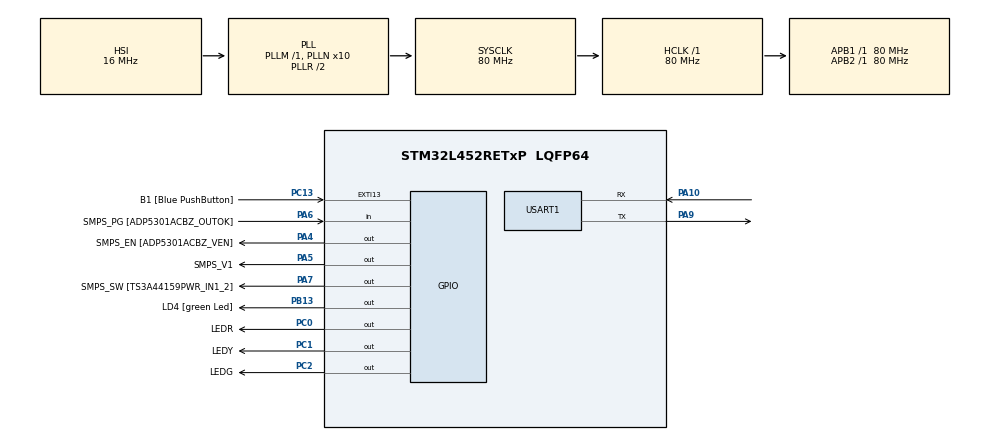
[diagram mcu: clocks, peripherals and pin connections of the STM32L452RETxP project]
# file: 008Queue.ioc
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Mcu.Family=STM32L4
PA2.GPIO_PuPd=GPIO_NOPULL
VP_SYS_VS_tim6.Mode=TIM6
RCC.CortexFreq_Value=80000000
NVIC.TIM6_DAC_IRQn=true\:0\:0\:false\:false\:true\:false\:true
PH0-OSC_IN\ (PH0).Signal=RCC_OSC_IN
PA3.GPIO_PuPd=GPIO_NOPULL
PA2.GPIO_Speed=GPIO_SPEED_FREQ_VERY_HIGH
PC0.GPIO_Label=LEDR
VP_RTC_VS_RTC_Activate.Mode=RTC_Enabled
PA6.GPIO_Label=SMPS_PG [ADP5301ACBZ_OUTOK]
PC13.GPIO_Label=B1 [Blue PushButton]
PB13.GPIO_Label=LD4 [green Led]
PA3.GPIO_Speed=GPIO_SPEED_FREQ_VERY_HIGH
PB13.Signal=GPIO_Output
RCC.SYSCLKSource=RCC_SYSCLKSOURCE_PLLCLK
ProjectManager.StackSize=0x400
PA14\ (JTCK/SWCLK).Signal=SYS_JTCK-SWCLK
RCC.HCLKFreq_Value=80000000
RCC.APB2TimFreq_Value=80000000
RCC.AHBFreq_Value=80000000
RCC.PREFETCH_ENABLE=1
NVIC.EXTI15_10_IRQn=true\:6\:0\:true\:false\:true\:true\:true
RCC.HSE_VALUE=8000000
PA13\ (JTMS/SWDIO).GPIO_Label=TMS
PA6.GPIO_PuPd=GPIO_PULLUP
PA5.GPIO_PuPd=GPIO_NOPULL
PC13.GPIO_PuPd=GPIO_NOPULL
Mcu.Package=LQFP64
PA6.Signal=GPIO_Input
NVIC.TimeBase=TIM6_DAC_IRQn
PA2.GPIO_Label=USART_TX
NVIC.TimeBaseIP=TIM6
PA10.Signal=USART1_RX
PA14\ (JTCK/SWCLK).GPIO_Label=TCK
RCC.APB1TimFreq_Value=80000000
NVIC.USART1_IRQn=true\:6\:0\:true\:false\:true\:true\:true
PA4.GPIO_Label=SMPS_EN [ADP5301ACBZ_VEN]
PC2.GPIO_Label=LEDG
RCC.HSI48_VALUE=48000000
PA3.Signal=USART2_RX
PA2.GPIO_Mode=GPIO_MODE_AF_PP
PB3\ (JTDO/TRACESWO).GPIO_Label=SWO
RCC.MSI_VALUE=4000000
RCC.PLLSourceVirtual=RCC_PLLSOURCE_HSI
PA10.Mode=Asynchronous
PC13.Signal=GPXTI13
PC2.Signal=GPIO_Output
PC15-OSC32_OUT\ (PC15).Signal=RCC_OSC32_OUT
PC0.Signal=GPIO_Output
PH1-OSC_OUT\ (PH1).Signal=RCC_OSC_OUT
USART1.VirtualMode-Asynchronous=VM_ASYNC
PA9.Mode=Asynchronous
PB3\ (JTDO/TRACESWO).Signal=SYS_JTDO-SWO
ProjectManager.TargetToolchain=STM32CubeIDE
PA3.GPIO_Mode=GPIO_MODE_AF_PP
PA9.Signal=USART1_TX
RCC.USBFreq_Value=64000000
RCC.LSE_VALUE=32768
PA5.Signal=GPIO_Output
board=NUCLEO-L452RE-P
RCC.VCOOutputFreq_Value=160000000
RCC.APB2Freq_Value=80000000
PA5.GPIO_ModeDefaultOutputPP=GPIO_MODE_OUTPUT_PP
RCC.ADCFreq_Value=64000000
PC1.GPIO_Label=LEDY
Mcu.Name=STM32L452RETxP
PA2.Signal=USART2_TX
PA4.Signal=GPIO_Output
RCC.SYSCLKFreq_VALUE=80000000
PA7.GPIO_Label=SMPS_SW [TS3A44159PWR_IN1_2]
PA5.GPIO_Label=SMPS_V1
PC13.GPIO_ModeDefaultEXTI=GPIO_MODE_IT_FALLING
PC14-OSC32_IN\ (PC14).Signal=RCC_OSC32_IN
RTC.HourFormat=RTC_HOURFORMAT_12
ProjectManager.HeapSize=0x200
RCC.HSI_VALUE=16000000
PA5.GPIO_Speed=GPIO_SPEED_FREQ_LOW
NVIC.PriorityGroup=NVIC_PRIORITYGROUP_4
PH0-OSC_IN\ (PH0).GPIO_Label=MCO
RCC.PLLN=10
RCC.APB1Freq_Value=80000000
PC1.Signal=GPIO_Output
PA13\ (JTMS/SWDIO).Signal=SYS_JTMS-SWDIO
PA3.GPIO_Label=USART_RX
PA7.Signal=GPIO_Output

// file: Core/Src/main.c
/* USER CODE BEGIN Header */
/**
  ******************************************************************************
  * @file           : main.c
  * @brief          : Main program body
  ******************************************************************************
  * @attention
  *
  * <h2><center>&copy; Copyright (c) 2022 STMicroelectronics.
  * All rights reserved.</center></h2>
  *
  * This software component is licensed by ST under BSD 3-Clause license,
  * the "License"; You may not use this file except in compliance with the
  * License. You may obtain a copy of the License at:
  *                        opensource.org/licenses/BSD-3-Clause
  *
  ******************************************************************************
  */
/* USER CODE END Header */
#include "main.h"
#include "task_handler.h"
#include "led_effect.h"

/* USER CODE BEGIN Includes */
#include <stdio.h>
/* USER CODE END Includes */

RTC_HandleTypeDef hrtc;

UART_HandleTypeDef huart1;

/* USER CODE BEGIN PV */
// Task handles
TaskHandle_t _handle_menu_task;
TaskHandle_t _handle_cmd_task;
TaskHandle_t _handle_print_task;
TaskHandle_t _handle_led_task;
TaskHandle_t _handle_rtc_task;

// Queue handles
QueueHandle_t q_data;
QueueHandle_t q_print;

// Timers
TimerHandle_t _handle_led_timer;

// UART Receive data buffer
volatile uint8_t _user_byte;

/* USER CODE END PV */

void SystemClock_Config(void);
static void MX_GPIO_Init(void);
static void MX_RTC_Init(void);
static void MX_USART1_UART_Init(void);
/* USER CODE BEGIN PFP */
void vTimerCallback(TimerHandle_t xTimer);
/* USER CODE END PFP */

int main(void)
{

  /* MCU Configuration--------------------------------------------------------*/

  /* Reset of all peripherals, Initializes the Flash interface and the Systick. */
  HAL_Init();

  /* Configure the system clock */
  SystemClock_Config();

  /* Initialize all configured peripherals */
  MX_GPIO_Init();
  MX_RTC_Init();
  MX_USART1_UART_Init();
  /* USER CODE BEGIN 2 */

  // Create Tasks
  BaseType_t status;
  status = xTaskCreate(menu_task, "menu_task", 250, NULL, 2, &_handle_menu_task);
  configASSERT(status == pdPASS);

  status = xTaskCreate(cmd_task, "cmd_task", 250, NULL, 2, &_handle_cmd_task);
  configASSERT(status == pdPASS);

  status = xTaskCreate(print_task, "print_task", 250, NULL, 2, &_handle_print_task);
  configASSERT(status == pdPASS);

  status = xTaskCreate(led_task, "led_task", 250, NULL, 2, &_handle_led_task);
  configASSERT(status == pdPASS);

  status = xTaskCreate(rtc_task, "rtc_task", 250, NULL, 2, &_handle_rtc_task);
  configASSERT(status == pdPASS);

  // Create Queues
  q_data = xQueueCreate(10, sizeof(char));
  configASSERT(q_data != NULL);

  q_print = xQueueCreate(10, sizeof(size_t));
  configASSERT(q_print != NULL);

  // Create timers
  _handle_led_timer = xTimerCreate("led_on", pdMS_TO_TICKS(500), pdTRUE, (void *)1, (void *)vTimerCallback);

  // Enable UART Receive in Interrupt Mode
  HAL_UART_Receive_IT(&huart1, (uint8_t *) &_user_byte, 1);

  // Start scheduler
  vTaskStartScheduler();

  /* USER CODE END 2 */

  /* Infinite loop */
  while (1)
  {

  }
}

void SystemClock_Config(void)
{
  RCC_OscInitTypeDef RCC_OscInitStruct = {0};
  RCC_ClkInitTypeDef RCC_ClkInitStruct = {0};
  RCC_PeriphCLKInitTypeDef PeriphClkInit = {0};

  /** Initializes the RCC Oscillators according to the specified parameters
  * in the RCC_OscInitTypeDef structure.
  */
  RCC_OscInitStruct.OscillatorType = RCC_OSCILLATORTYPE_HSI|RCC_OSCILLATORTYPE_LSI;
  RCC_OscInitStruct.HSIState = RCC_HSI_ON;
  RCC_OscInitStruct.HSICalibrationValue = RCC_HSICALIBRATION_DEFAULT;
  RCC_OscInitStruct.LSIState = RCC_LSI_ON;
  RCC_OscInitStruct.PLL.PLLState = RCC_PLL_ON;
  RCC_OscInitStruct.PLL.PLLSource = RCC_PLLSOURCE_HSI;
  RCC_OscInitStruct.PLL.PLLM = 1;
  RCC_OscInitStruct.PLL.PLLN = 10;
  RCC_OscInitStruct.PLL.PLLP = RCC_PLLP_DIV7;
  RCC_OscInitStruct.PLL.PLLQ = RCC_PLLQ_DIV2;
  RCC_OscInitStruct.PLL.PLLR = RCC_PLLR_DIV2;
  if (HAL_RCC_OscConfig(&RCC_OscInitStruct) != HAL_OK)
  {
    Error_Handler();
  }
  /** Initializes the CPU, AHB and APB buses clocks
  */
  RCC_ClkInitStruct.ClockType = RCC_CLOCKTYPE_HCLK|RCC_CLOCKTYPE_SYSCLK
                              |RCC_CLOCKTYPE_PCLK1|RCC_CLOCKTYPE_PCLK2;
  RCC_ClkInitStruct.SYSCLKSource = RCC_SYSCLKSOURCE_PLLCLK;
  RCC_ClkInitStruct.AHBCLKDivider = RCC_SYSCLK_DIV1;
  RCC_ClkInitStruct.APB1CLKDivider = RCC_HCLK_DIV1;
  RCC_ClkInitStruct.APB2CLKDivider = RCC_HCLK_DIV1;

  if (HAL_RCC_ClockConfig(&RCC_ClkInitStruct, FLASH_LATENCY_4) != HAL_OK)
  {
    Error_Handler();
  }
  PeriphClkInit.PeriphClockSelection = RCC_PERIPHCLK_RTC|RCC_PERIPHCLK_USART1;
  PeriphClkInit.Usart1ClockSelection = RCC_USART1CLKSOURCE_PCLK2;
  PeriphClkInit.RTCClockSelection = RCC_RTCCLKSOURCE_LSI;
  if (HAL_RCCEx_PeriphCLKConfig(&PeriphClkInit) != HAL_OK)
  {
    Error_Handler();
  }
  /** Configure the main internal regulator output voltage
  */
  if (HAL_PWREx_ControlVoltageScaling(PWR_REGULATOR_VOLTAGE_SCALE1) != HAL_OK)
  {
    Error_Handler();
  }
}

static void MX_RTC_Init(void)
{

  /** Initialize RTC Only
  */
  hrtc.Instance = RTC;
  hrtc.Init.HourFormat = RTC_HOURFORMAT_12;
  hrtc.Init.AsynchPrediv = 127;
  hrtc.Init.SynchPrediv = 255;
  hrtc.Init.OutPut = RTC_OUTPUT_DISABLE;
  hrtc.Init.OutPutRemap = RTC_OUTPUT_REMAP_NONE;
  hrtc.Init.OutPutPolarity = RTC_OUTPUT_POLARITY_HIGH;
  hrtc.Init.OutPutType = RTC_OUTPUT_TYPE_OPENDRAIN;
  if (HAL_RTC_Init(&hrtc) != HAL_OK)
  {
    Error_Handler();
  }

}

static void MX_USART1_UART_Init(void)
{

  huart1.Instance = USART1;
  huart1.Init.BaudRate = 115200;
  huart1.Init.WordLength = UART_WORDLENGTH_8B;
  huart1.Init.StopBits = UART_STOPBITS_1;
  huart1.Init.Parity = UART_PARITY_NONE;
  huart1.Init.Mode = UART_MODE_TX_RX;
  huart1.Init.HwFlowCtl = UART_HWCONTROL_NONE;
  huart1.Init.OverSampling = UART_OVERSAMPLING_16;
  huart1.Init.OneBitSampling = UART_ONE_BIT_SAMPLE_DISABLE;
  huart1.AdvancedInit.AdvFeatureInit = UART_ADVFEATURE_NO_INIT;
  if (HAL_UART_Init(&huart1) != HAL_OK)
  {
    Error_Handler();
  }

}

static void MX_GPIO_Init(void)
{
  GPIO_InitTypeDef GPIO_InitStruct = {0};

  /* GPIO Ports Clock Enable */
  __HAL_RCC_GPIOC_CLK_ENABLE();
  __HAL_RCC_GPIOH_CLK_ENABLE();
  __HAL_RCC_GPIOA_CLK_ENABLE();
  __HAL_RCC_GPIOB_CLK_ENABLE();

  /*Configure GPIO pin Output Level */
  HAL_GPIO_WritePin(GPIOC, LEDR_Pin|LEDY_Pin|LEDG_Pin, GPIO_PIN_RESET);

  /*Configure GPIO pin Output Level */
  HAL_GPIO_WritePin(GPIOA, SMPS_EN_Pin|SMPS_V1_Pin|SMPS_SW_Pin, GPIO_PIN_RESET);

  /*Configure GPIO pin Output Level */
  HAL_GPIO_WritePin(LD4_GPIO_Port, LD4_Pin, GPIO_PIN_RESET);

  /*Configure GPIO pin : B1_Pin */
  GPIO_InitStruct.Pin = B1_Pin;
  GPIO_InitStruct.Mode = GPIO_MODE_IT_FALLING;
  GPIO_InitStruct.Pull = GPIO_NOPULL;
  HAL_GPIO_Init(B1_GPIO_Port, &GPIO_InitStruct);

  /*Configure GPIO pins : LEDR_Pin LEDY_Pin LEDG_Pin */
  GPIO_InitStruct.Pin = LEDR_Pin|LEDY_Pin|LEDG_Pin;
  GPIO_InitStruct.Mode = GPIO_MODE_OUTPUT_PP;
  GPIO_InitStruct.Pull = GPIO_NOPULL;
  GPIO_InitStruct.Speed = GPIO_SPEED_FREQ_LOW;
  HAL_GPIO_Init(GPIOC, &GPIO_InitStruct);

  /*Configure GPIO pins : USART_TX_Pin USART_RX_Pin */
  GPIO_InitStruct.Pin = USART_TX_Pin|USART_RX_Pin;
  GPIO_InitStruct.Mode = GPIO_MODE_AF_PP;
  GPIO_InitStruct.Pull = GPIO_NOPULL;
  GPIO_InitStruct.Speed = GPIO_SPEED_FREQ_VERY_HIGH;
  GPIO_InitStruct.Alternate = GPIO_AF7_USART2;
  HAL_GPIO_Init(GPIOA, &GPIO_InitStruct);

  /*Configure GPIO pins : SMPS_EN_Pin SMPS_V1_Pin SMPS_SW_Pin */
  GPIO_InitStruct.Pin = SMPS_EN_Pin|SMPS_V1_Pin|SMPS_SW_Pin;
  GPIO_InitStruct.Mode = GPIO_MODE_OUTPUT_PP;
  GPIO_InitStruct.Pull = GPIO_NOPULL;
  GPIO_InitStruct.Speed = GPIO_SPEED_FREQ_LOW;
  HAL_GPIO_Init(GPIOA, &GPIO_InitStruct);

  /*Configure GPIO pin : SMPS_PG_Pin */
  GPIO_InitStruct.Pin = SMPS_PG_Pin;
  GPIO_InitStruct.Mode = GPIO_MODE_INPUT;
  GPIO_InitStruct.Pull = GPIO_PULLUP;
  HAL_GPIO_Init(SMPS_PG_GPIO_Port, &GPIO_InitStruct);

  /*Configure GPIO pin : LD4_Pin */
  GPIO_InitStruct.Pin = LD4_Pin;
  GPIO_InitStruct.Mode = GPIO_MODE_OUTPUT_PP;
  GPIO_InitStruct.Pull = GPIO_NOPULL;
  GPIO_InitStruct.Speed = GPIO_SPEED_FREQ_LOW;
  HAL_GPIO_Init(LD4_GPIO_Port, &GPIO_InitStruct);

  /* EXTI interrupt init*/
  HAL_NVIC_SetPriority(EXTI15_10_IRQn, 6, 0);
  HAL_NVIC_EnableIRQ(EXTI15_10_IRQn);

}

/* USER CODE BEGIN 4 */
void HAL_UART_RxCpltCallback(UART_HandleTypeDef *huart)
{
    uint8_t dummy_buffer;

    if (!xQueueIsQueueFullFromISR(q_data))
    {
        xQueueSendFromISR(q_data, (void *) &_user_byte, NULL);
    }
    else // queue is full
    {
        if (_user_byte == '\n') // make sure last data byte is \n
        {
            xQueueReceiveFromISR(q_data, (void *)&dummy_buffer, NULL);
            xQueueSendFromISR(q_data, (void *)&_user_byte, NULL);
        }
    }

    if (_user_byte == '\n')
    {
        xTaskNotifyFromISR(_handle_cmd_task, 0, eNoAction, NULL);
    }

    HAL_UART_Receive_IT(&huart1, (uint8_t *) &_user_byte, 1);
}

void vTimerCallback(TimerHandle_t xTimer)
{
    __unused int id;
    id = (uint32_t)pvTimerGetTimerID(xTimer); // get id for debugging purpose only

    toggle_led();
}
/* USER CODE END 4 */

 /**
  * @brief  Period elapsed callback in non blocking mode
  * @note   This function is called  when TIM6 interrupt took place, inside
  * HAL_TIM_IRQHandler(). It makes a direct call to HAL_IncTick() to increment
  * a global variable "uwTick" used as application time base.
  * @param  htim : TIM handle
  * @retval None
  */
void HAL_TIM_PeriodElapsedCallback(TIM_HandleTypeDef *htim)
{
  if (htim->Instance == TIM6) {
    HAL_IncTick();
  }
}

void Error_Handler(void)
{
  __disable_irq();
  while (1)
  {
  }
}

/************************ (C) COPYRIGHT STMicroelectronics *****END OF FILE****/
